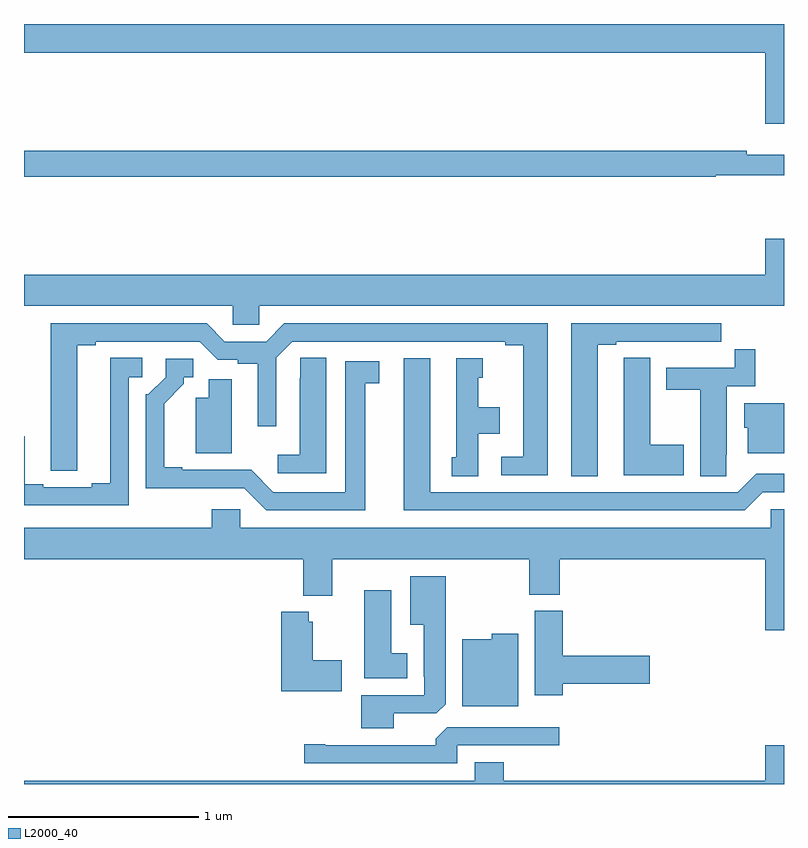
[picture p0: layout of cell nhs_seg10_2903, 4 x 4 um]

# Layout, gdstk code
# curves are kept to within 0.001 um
import gdstk
lib = gdstk.Library(unit=1e-6, precision=1e-09)
def P(c, l, *ps):  # polygons
    for p in ps: c.add(gdstk.Polygon(p, *l))
L2000_40 = (2000, 40)

nhs_seg10_2903 = lib.new_cell('nhs_seg10_2903')
P(nhs_seg10_2903, L2000_40, [(273,1268.5),(269,1268.5),(269,1268.348),(272.9,1268.348),(272.9,1267.974),(273,1267.974)],
  [(272.642,1267.704),(273,1267.704),(273,1267.813),(272.804,1267.813),(272.804,1267.832),(269,1267.832),(269,1267.696),(272.642,1267.696)],
  [(270.237,1267.016),(273,1267.016),(273,1267.369),(272.9,1267.369),(272.9,1267.18),(269,1267.18),(269,1267.016),(270.099,1267.016),(270.099,1266.918),(270.237,1266.918)],
  [(271.756,1266.924),(270.371,1266.924),(270.275,1266.828),(270.057,1266.828),(269.961,1266.924),(269.141,1266.924),(269.142,1266.148),(269.281,1266.148),(269.281,1266.808),(269.377,1266.808),(269.377,1266.828),(269.925,1266.828),(270.021,1266.732),(270.126,1266.732),(270.126,1266.712),(270.23,1266.712),(270.23,1266.384),(270.327,1266.384),(270.327,1266.744),(270.411,1266.828),(271.532,1266.828),(271.532,1266.808),(271.628,1266.808),(271.628,1266.222),(271.512,1266.222),(271.512,1266.126),(271.756,1266.126)],
  [(272.02,1266.813),(272.116,1266.813),(272.116,1266.828),(272.392,1266.828),(272.392,1266.827),(272.558,1266.827),(272.558,1266.828),(272.671,1266.828),(272.671,1266.924),(271.88,1266.924),(271.88,1266.121),(272.02,1266.121)],
  [(272.697,1266.232),(272.698,1266.232),(272.698,1266.594),(272.849,1266.594),(272.849,1266.787),(272.74,1266.787),(272.74,1266.69),(272.381,1266.69),(272.381,1266.574),(272.558,1266.574),(272.558,1266.121),(272.697,1266.121)],
  [(269.55,1266.642),(269.623,1266.642),(269.623,1266.743),(269.453,1266.743),(269.453,1266.083),(269.357,1266.083),(269.357,1266.063),(269.101,1266.063),(269.101,1266.078),(269.005,1266.078),(269.005,1266.329),(269,1266.329),(269,1265.967),(269.55,1265.967)],
  [(272.473,1266.285),(272.296,1266.285),(272.296,1266.743),(272.157,1266.743),(272.157,1266.635),(272.156,1266.635),(272.156,1266.125),(272.473,1266.125)],
  [(270.592,1266.743),(270.453,1266.743),(270.453,1266.635),(270.452,1266.635),(270.452,1266.232),(270.336,1266.232),(270.336,1266.135),(270.592,1266.135)],
  [(272.889,1266.036),(273,1266.036),(273,1266.132),(272.853,1266.132),(272.757,1266.036),(271.138,1266.036),(271.138,1266.742),(270.998,1266.742),(270.998,1265.94),(272.793,1265.94)],
  [(271.39,1266.344),(271.504,1266.344),(271.504,1266.484),(271.39,1266.484),(271.39,1266.639),(271.414,1266.639),(271.414,1266.742),(271.274,1266.742),(271.274,1266.219),(271.25,1266.219),(271.25,1266.121),(271.39,1266.121)],
  [(270.796,1266.61),(270.871,1266.61),(270.871,1266.726),(270.692,1266.726),(270.692,1266.036),(270.312,1266.036),(270.195,1266.153),(269.833,1266.153),(269.833,1266.166),(269.737,1266.166),(269.737,1266.502),(269.842,1266.607),(269.842,1266.642),(269.892,1266.642),(269.892,1266.738),(269.745,1266.738),(269.745,1266.642),(269.655,1266.552),(269.64,1266.552),(269.64,1266.056),(270.159,1266.057),(270.276,1265.94),(270.796,1265.94)],
  [(270.094,1266.63),(269.972,1266.63),(269.972,1266.532),(269.903,1266.532),(269.903,1266.242),(270.094,1266.242)],
  [(273,1266.505),(272.792,1266.505),(272.792,1266.375),(272.81,1266.375),(272.81,1266.242),(273,1266.242)],
  [(273,1265.946),(272.931,1265.946),(272.931,1265.848),(270.138,1265.848),(270.138,1265.946),(269.987,1265.946),(269.987,1265.848),(269,1265.848),(269,1265.684),(270.47,1265.684),(270.47,1265.492),(270.622,1265.492),(270.622,1265.684),(271.66,1265.684),(271.66,1265.497),(271.82,1265.497),(271.82,1265.684),(272.9,1265.684),(272.9,1265.31),(273,1265.31)],
  [(270.946,1264.872),(271.17,1264.872),(271.219,1264.921),(271.219,1265.593),(271.034,1265.593),(271.034,1265.339),(271.103,1265.339),(271.103,1265.065),(271.107,1265.065),(271.107,1264.968),(270.776,1264.968),(270.776,1264.793),(270.946,1264.793)],
  [(271.018,1265.188),(270.934,1265.188),(270.934,1265.521),(270.791,1265.521),(270.791,1265.057),(271.018,1265.057)],
  [(271.835,1265.027),(272.293,1265.027),(272.293,1265.174),(271.835,1265.174),(271.835,1265.412),(271.688,1265.412),(271.688,1264.968),(271.835,1264.968)],
  [(270.673,1265.151),(270.52,1265.151),(270.52,1265.353),(270.498,1265.353),(270.498,1265.407),(270.353,1265.407),(270.353,1264.988),(270.673,1264.988)],
  [(271.6,1265.29),(271.461,1265.29),(271.461,1265.263),(271.307,1265.263),(271.307,1264.91),(271.6,1264.91)],
  [(271.281,1264.704),(271.816,1264.704),(271.816,1264.8),(271.227,1264.8),(271.166,1264.738),(271.166,1264.704),(270.586,1264.704),(270.586,1264.709),(270.474,1264.709),(270.474,1264.608),(271.281,1264.608)],
  [(273,1264.705),(272.9,1264.705),(272.9,1264.516),(271.526,1264.516),(271.526,1264.615),(271.373,1264.615),(271.373,1264.516),(269,1264.516),(269,1264.5),(273,1264.5)])

lib.write_gds('nhs_seg10_2903.gds')
